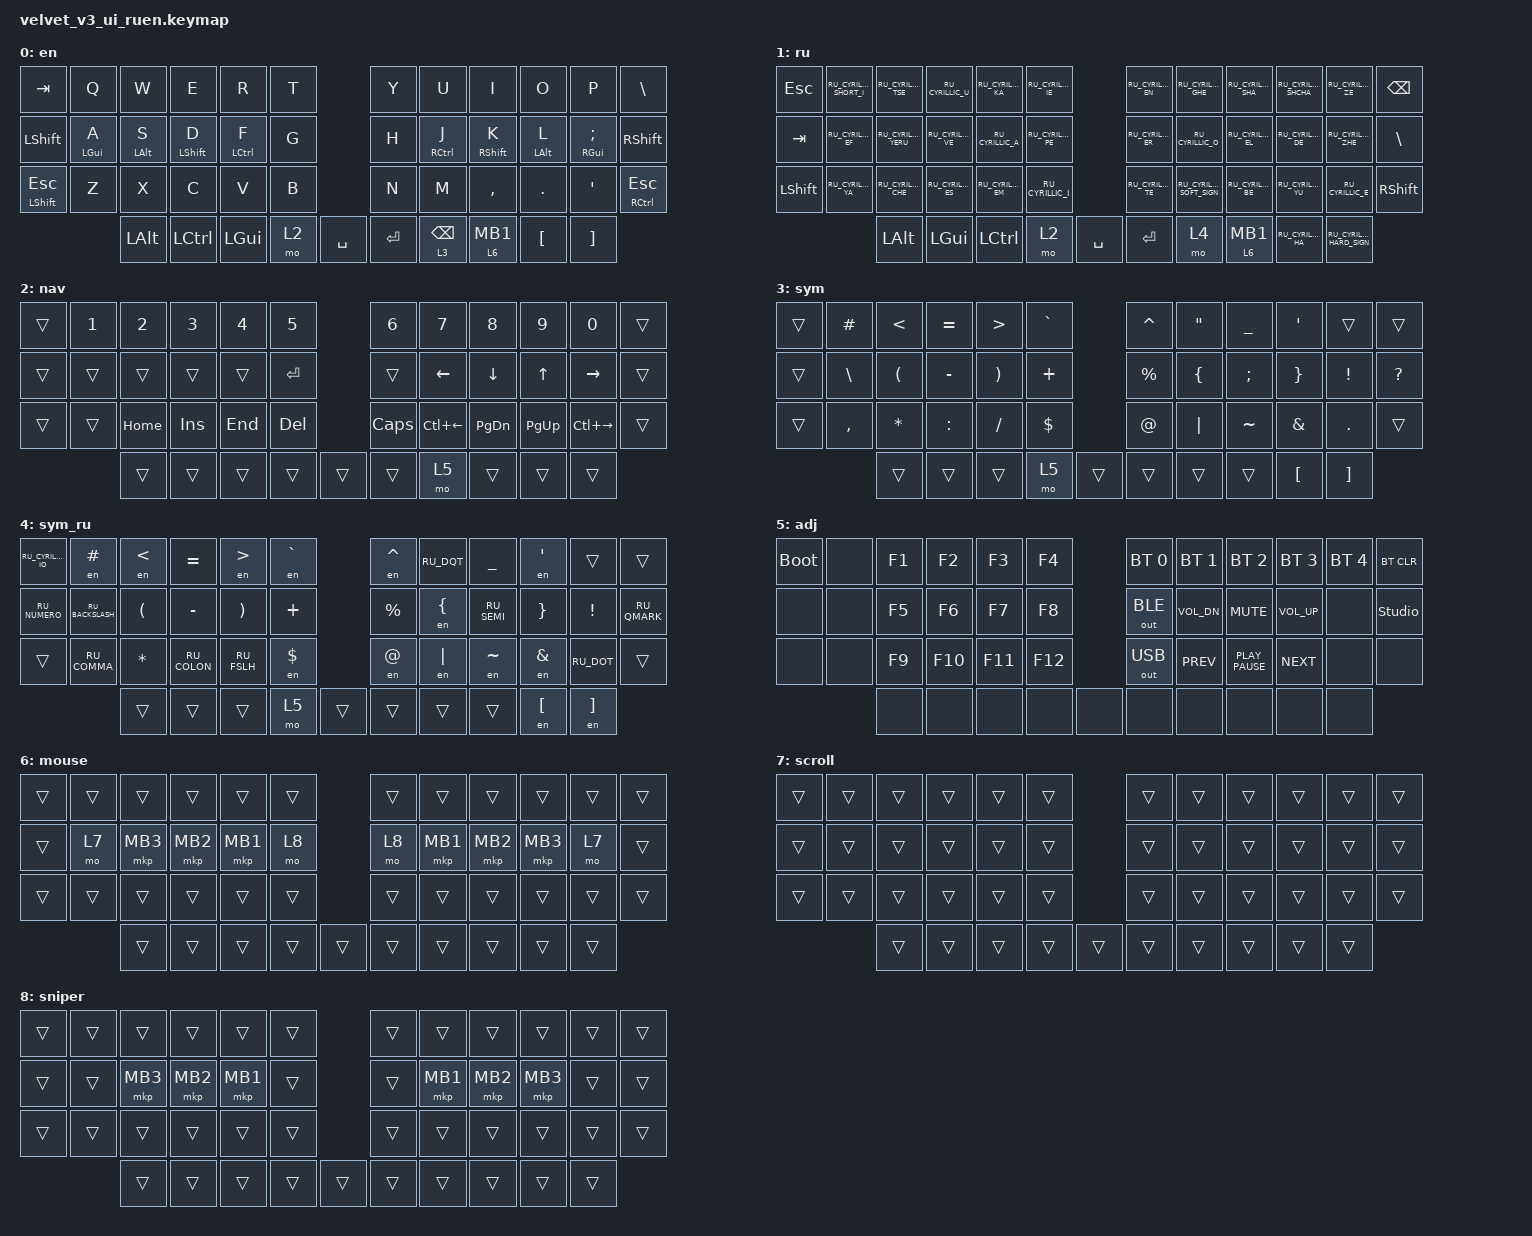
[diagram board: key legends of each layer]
#include "keys_ru.h"
#include <dt-bindings/zmk/input_transform.h>
#include <input/processors.dtsi>
#include <zephyr/dt-bindings/input/input-event-codes.h>
#include <behaviors.dtsi>
#include <dt-bindings/zmk/bt.h>
#include <dt-bindings/zmk/keys.h>
#include <dt-bindings/zmk/outputs.h>
#include <dt-bindings/zmk/pointing.h>

/ {
    behaviors {
        cap_sen: cap_sen {
            compatible = "zmk,behavior-hold-tap";
            label = "CAP_SEN";
            bindings = <&mo>, <&mkp>;

            #binding-cells = <2>;
            tapping-term-ms = <150>;
            hold-while-undecided;
        };

        hml: home_row_mod_left {
            compatible = "zmk,behavior-hold-tap";
            #binding-cells = <2>;
            flavor = "balanced";
            require-prior-idle-ms = <150>;
            tapping-term-ms = <280>;
            quick-tap-ms = <175>;
            bindings = <&kp>, <&kp>;

            hold-trigger-key-positions = <5 6 7 8 9 15 16 17 18 19 25 26 27 28 29 33 34 35>;
            hold-trigger-on-release;
        };

        hmr: home_row_mod_right {
            compatible = "zmk,behavior-hold-tap";
            #binding-cells = <2>;
            flavor = "balanced";
            require-prior-idle-ms = <150>;
            tapping-term-ms = <280>;
            quick-tap-ms = <175>;
            bindings = <&kp>, <&kp>;

            hold-trigger-key-positions = <0 1 2 3 4 10 11 12 13 14 20 21 22 23 24 30 31 32>;
            hold-trigger-on-release;
        };
    };

    combos {
        compatible = "zmk,combos";

        cmben {
            bindings = <&layer_en>;
            key-positions = <3 4>;
            layers = <1>;
        };

        cmbru {
            bindings = <&layer_ru>;
            key-positions = <3 4>;
            layers = <0>;
        };
    };

    macros {
        to_ru: to_ru {
            compatible = "zmk,behavior-macro";
            #binding-cells = <0>;
            bindings = <&kp LS(LC(N2))>;
            label = "TO_RU";
        };

        to_en: to_en {
            compatible = "zmk,behavior-macro";
            #binding-cells = <0>;
            bindings = <&kp LS(LC(N1))>;
            label = "TO_EN";
        };

        layer_en: layer_en {
            compatible = "zmk,behavior-macro";
            #binding-cells = <0>;
            bindings = <&to 0 &to_en>;
            label = "LAYER_EN";
        };

        layer_ru: layer_ru {
            compatible = "zmk,behavior-macro";
            #binding-cells = <0>;
            bindings = <&to 1 &to_ru>;
            label = "LAYER_RU";
        };

        en: en {
            compatible = "zmk,behavior-macro-one-param";
            #binding-cells = <1>;
            bindings =
                <&to_en &macro_param_1to1 &kp MACRO_PLACEHOLDER>,
                <&macro_wait_time 10>,
                <&to_ru>,
                <&macro_wait_time 10>;

            label = "EN";
        };
    };

    keymap {
        compatible = "zmk,keymap";

        en {
            bindings = <
&kp TAB        &kp Q        &kp W        &kp E         &kp R         &kp T                        &kp Y            &kp U           &kp I         &kp O        &kp P                &kp BSLH
&kp LSHIFT     &hml LGUI A  &hml LALT S  &hml LSHFT D  &hml LCTRL F  &kp G                        &kp H            &hmr RCTRL J    &hmr RSHFT K  &hmr LALT L  &hmr RGUI SEMICOLON  &kp RSHIFT
&mt LSHFT ESC  &kp Z        &kp X        &kp C         &kp V         &kp B                        &kp N            &kp M           &kp COMMA     &kp DOT      &kp SQT              &mt RCTRL ESC
                            &kp LALT     &kp LCTRL     &kp LGUI      &mo 2  &kp SPACE    &kp RET  &lt 3 BACKSPACE  &cap_sen 6 MB1  &kp LBKT      &kp RBKT
            >;

            display-name = "en";
        };

        ru {
            display-name = "ru";
            bindings = <
&kp ESC    &kp RU_CYRILLIC_SHORT_I  &kp RU_CYRILLIC_TSE   &kp RU_CYRILLIC_U   &kp RU_CYRILLIC_KA  &kp RU_CYRILLIC_IE                        &kp RU_CYRILLIC_EN  &kp RU_CYRILLIC_GHE        &kp RU_CYRILLIC_SHA  &kp RU_CYRILLIC_SHCHA      &kp RU_CYRILLIC_ZE   &kp BSPC
&kp TAB    &kp RU_CYRILLIC_EF       &kp RU_CYRILLIC_YERU  &kp RU_CYRILLIC_VE  &kp RU_CYRILLIC_A   &kp RU_CYRILLIC_PE                        &kp RU_CYRILLIC_ER  &kp RU_CYRILLIC_O          &kp RU_CYRILLIC_EL   &kp RU_CYRILLIC_DE         &kp RU_CYRILLIC_ZHE  &kp BSLH
&kp LSHFT  &kp RU_CYRILLIC_YA       &kp RU_CYRILLIC_CHE   &kp RU_CYRILLIC_ES  &kp RU_CYRILLIC_EM  &kp RU_CYRILLIC_I                         &kp RU_CYRILLIC_TE  &kp RU_CYRILLIC_SOFT_SIGN  &kp RU_CYRILLIC_BE   &kp RU_CYRILLIC_YU         &kp RU_CYRILLIC_E    &kp RSHFT
                                    &kp LALT              &kp LGUI            &kp LCTRL           &mo 2               &kp SPACE    &kp RET  &mo 4               &cap_sen 6 MB1             &kp RU_CYRILLIC_HA   &kp RU_CYRILLIC_HARD_SIGN
            >;
        };

        nav {
            bindings = <
&trans  &kp N1  &kp N2    &kp N3   &kp N4   &kp N5                     &kp N6    &kp N7        &kp N8         &kp N9       &kp N0         &trans
&trans  &trans  &trans    &trans   &trans   &kp RET                    &trans    &kp LEFT      &kp DOWN       &kp UP       &kp RIGHT      &trans
&trans  &trans  &kp HOME  &kp INS  &kp END  &kp DEL                    &kp CLCK  &kp LC(LEFT)  &kp PAGE_DOWN  &kp PAGE_UP  &kp LC(RIGHT)  &trans
                &trans    &trans   &trans   &trans   &trans    &trans  &mo 5     &trans        &trans         &trans
            >;

            display-name = "nav";
        };

        sym {
            bindings = <
&trans  &kp HASH   &kp LT    &kp EQUAL  &kp GT    &kp GRAVE                    &kp CARET  &kp DQT   &kp UNDER  &kp SQT   &trans    &trans
&trans  &kp BSLH   &kp LPAR  &kp MINUS  &kp RPAR  &kp PLUS                     &kp PRCNT  &kp LBRC  &kp SEMI   &kp RBRC  &kp EXCL  &kp QUESTION
&trans  &kp COMMA  &kp STAR  &kp COLON  &kp FSLH  &kp DLLR                     &kp AT     &kp PIPE  &kp TILDE  &kp AMPS  &kp DOT   &trans
                   &trans    &trans     &trans    &mo 5      &trans    &trans  &trans     &trans    &kp LBKT   &kp RBKT
            >;

            display-name = "sym";
        };

        sym_ru {
            display-name = "sym_ru";
            bindings = <
&kp RU_CYRILLIC_IO  &en HASH          &en LT    &kp EQUAL     &en GT       &en GRAVE                    &en CARET  &kp RU_DQT  &kp UNDER    &en SQT   &trans      &trans
&kp RU_NUMERO       &kp RU_BACKSLASH  &kp LPAR  &kp MINUS     &kp RPAR     &kp PLUS                     &kp PRCNT  &en LBRC    &kp RU_SEMI  &kp RBRC  &kp EXCL    &kp RU_QMARK
&trans              &kp RU_COMMA      &kp STAR  &kp RU_COLON  &kp RU_FSLH  &en DLLR                     &en AT     &en PIPE    &en TILDE    &en AMPS  &kp RU_DOT  &trans
                                      &trans    &trans        &trans       &mo 5      &trans    &trans  &trans     &trans      &en LBKT     &en RBKT
            >;
        };

        adj {
            bindings = <
&bootloader  &none  &kp F1  &kp F2   &kp F3   &kp F4                   &bt BT_SEL 0  &bt BT_SEL 1  &bt BT_SEL 2      &bt BT_SEL 3  &bt BT_SEL 4  &bt BT_CLR
&none        &none  &kp F5  &kp F6   &kp F7   &kp F8                   &out OUT_BLE  &kp C_VOL_DN  &kp K_MUTE        &kp C_VOL_UP  &none         &studio_unlock
&none        &none  &kp F9  &kp F10  &kp F11  &kp F12                  &out OUT_USB  &kp K_PREV    &kp K_PLAY_PAUSE  &kp K_NEXT    &none         &none
                    &none   &none    &none    &none    &none    &none  &none         &none         &none             &none
            >;

            display-name = "adj";
        };

        mouse {
            bindings = <
&trans  &trans  &trans    &trans    &trans    &trans                    &trans  &trans    &trans    &trans    &trans  &trans
&trans  &mo 7   &mkp MB3  &mkp MB2  &mkp MB1  &mo 8                     &mo 8   &mkp MB1  &mkp MB2  &mkp MB3  &mo 7   &trans
&trans  &trans  &trans    &trans    &trans    &trans                    &trans  &trans    &trans    &trans    &trans  &trans
                &trans    &trans    &trans    &trans  &trans    &trans  &trans  &trans    &trans    &trans
            >;
        };

        scroll {
            bindings = <
&trans  &trans  &trans  &trans  &trans  &trans                    &trans  &trans  &trans  &trans  &trans  &trans
&trans  &trans  &trans  &trans  &trans  &trans                    &trans  &trans  &trans  &trans  &trans  &trans
&trans  &trans  &trans  &trans  &trans  &trans                    &trans  &trans  &trans  &trans  &trans  &trans
                &trans  &trans  &trans  &trans  &trans    &trans  &trans  &trans  &trans  &trans
            >;
        };

        sniper {
            bindings = <
&trans  &trans  &trans    &trans    &trans    &trans                    &trans  &trans    &trans    &trans    &trans  &trans
&trans  &trans  &mkp MB3  &mkp MB2  &mkp MB1  &trans                    &trans  &mkp MB1  &mkp MB2  &mkp MB3  &trans  &trans
&trans  &trans  &trans    &trans    &trans    &trans                    &trans  &trans    &trans    &trans    &trans  &trans
                &trans    &trans    &trans    &trans  &trans    &trans  &trans  &trans    &trans    &trans
            >;
        };
    };
};

&trackball { cpi = <1000>; };

&trackball_listener {
    input-processors = <&zip_xy_scaler 9 20>;

    scroller {
        layers = <7>;
        input-processors =
            <&zip_xy_transform INPUT_TRANSFORM_Y_INVERT>,
            <&zip_xy_scaler 1 32>,
            <&zip_xy_to_scroll_mapper>;
    };

    sniper {
        layers = <8>;
        input-processors = <&zip_xy_scaler 1 4>;
    };
};
